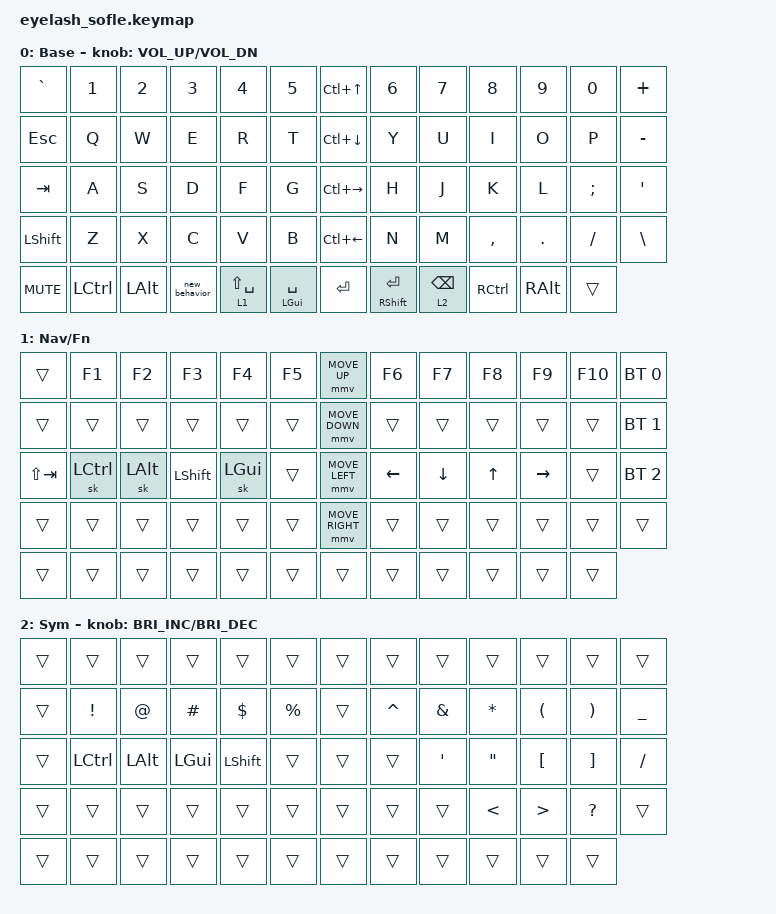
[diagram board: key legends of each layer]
#include <dt-bindings/zmk/mouse.h>
#include <input/processors.dtsi>
#include <behaviors.dtsi>
#include <dt-bindings/zmk/bt.h>
#include <dt-bindings/zmk/keys.h>
#include <dt-bindings/zmk/pointing.h>

/*

   &mmv_input_listener {
       input-processors = <&zip_xy_scaler 2 1>;
   };

   &msc_input_listener {
       input-processors = <&zip_xy_scaler 2 1>;
   };

 */

#define ZMK_MOUSE_DEFAULT_MOVE_VAL 1200  // 600
#define ZMK_MOUSE_DEFAULT_SCRL_VAL 20    // 10

/ {
    behaviors {
        mmv {
            acceleration-exponent = <1>;      // 1
            time-to-max-speed-ms = <900>;    // 40
            delay-ms = <0>;                   // 0
        };

        msc {
            acceleration-exponent = <1>;      // 0
            time-to-max-speed-ms = <400>;      // 500
            delay-ms = <0>;                   //   10
        };

        scroll_encoder: scroll_encoder {
            compatible = "zmk,behavior-sensor-rotate";
            #sensor-binding-cells = <0>;
            bindings = <&msc SCRL_DOWN>, <&msc SCRL_UP>;

            tap-ms = <30>;
        };

        modtap: modtap {
            compatible = "zmk,behavior-hold-tap";
            label = "tap-hold key";
            bindings = <&kp>, <&kp>;

            #binding-cells = <2>;
            tapping-term-ms = <200>;
            quick-tap-ms = <170>;
            flavor = "tap-preferred";
        };

        layertap: layertap {
            compatible = "zmk,behavior-hold-tap";
            label = "tap-hold layer";
            bindings = <&mo>, <&kp>;

            #binding-cells = <2>;
            tapping-term-ms = <200>;
            quick-tap-ms = <175>;
            flavor = "balanced";
        };

        new_behavior: new_behavior {
            compatible = "zmk,behavior-tap-dance";
            label = "NEW_BEHAVIOR";
            #binding-cells = <0>;
            bindings = <&kp LCTRL>, <&kp LALT>;
        };
    };

    keymap {
        compatible = "zmk,keymap";

        Base {
            bindings = <
&kp GRAVE   &kp N1     &kp N2    &kp N3         &kp N4                 &kp N5                    &kp LC(UP_ARROW)     &kp N6                 &kp N7                 &kp N8     &kp N9    &kp N0         &kp PLUS
&kp ESCAPE  &kp Q      &kp W     &kp E          &kp R                  &kp T                     &kp LC(DOWN_ARROW)   &kp Y                  &kp U                  &kp I      &kp O     &kp P          &kp MINUS
&kp TAB     &kp A      &kp S     &kp D          &kp F                  &kp G                     &kp LC(RIGHT_ARROW)  &kp H                  &kp J                  &kp K      &kp L     &kp SEMICOLON  &kp APOS
&kp LSHFT   &kp Z      &kp X     &kp C          &kp V                  &kp B                     &kp LC(LEFT_ARROW)   &kp N                  &kp M                  &kp COMMA  &kp DOT   &kp SLASH      &kp BACKSLASH
&kp C_MUTE  &kp LCTRL  &kp LALT  &new_behavior  &layertap 1 LS(SPACE)  &modtap LEFT_GUI SPACE    &kp ENTER            &modtap RSHIFT RETURN  &layertap 2 BACKSPACE  &kp RCTRL  &kp RALT  &trans
            >;

            sensor-bindings = <&inc_dec_kp C_VOL_UP C_VOL_DN>;
            display-name = "Base";
        };

        Navi_Func {
            bindings = <
&trans       &kp F1     &kp F2    &kp F3          &kp F4        &kp F5    &mmv MOVE_UP     &kp F6    &kp F7    &kp F8  &kp F9     &kp F10  &bt BT_SEL 0
&trans       &trans     &trans    &trans          &trans        &trans    &mmv MOVE_DOWN   &trans    &trans    &trans  &trans     &trans   &bt BT_SEL 1
&kp LS(TAB)  &sk LCTRL  &sk LALT  &kp LEFT_SHIFT  &sk LEFT_GUI  &trans    &mmv MOVE_LEFT   &kp LEFT  &kp DOWN  &kp UP  &kp RIGHT  &trans   &bt BT_SEL 2
&trans       &trans     &trans    &trans          &trans        &trans    &mmv MOVE_RIGHT  &trans    &trans    &trans  &trans     &trans   &trans
&trans       &trans     &trans    &trans          &trans        &trans    &trans           &trans    &trans    &trans  &trans     &trans
            >;

            label = "Nav/Fn";
        };

        Symbol {
            bindings = <
&trans  &trans     &trans    &trans    &trans     &trans       &trans  &trans     &trans    &trans    &trans    &trans     &trans
&trans  &kp EXCL   &kp AT    &kp HASH  &kp DLLR   &kp PRCNT    &trans  &kp CARET  &kp AMPS  &kp STAR  &kp LPAR  &kp RPAR   &kp UNDER
&trans  &kp LCTRL  &kp LALT  &kp LGUI  &kp LSHFT  &trans       &trans  &trans     &kp APOS  &kp DQT   &kp LBKT  &kp RBKT   &kp FSLH
&trans  &trans     &trans    &trans    &trans     &trans       &trans  &trans     &trans    &kp LT    &kp GT    &kp QMARK  &trans
&trans  &trans     &trans    &trans    &trans     &trans       &trans  &trans     &trans    &trans    &trans    &trans
            >;

            label = "Sym";
            sensor-bindings = <&inc_dec_kp C_BRIGHTNESS_INC C_BRIGHTNESS_DEC>;
        };
    };
};
